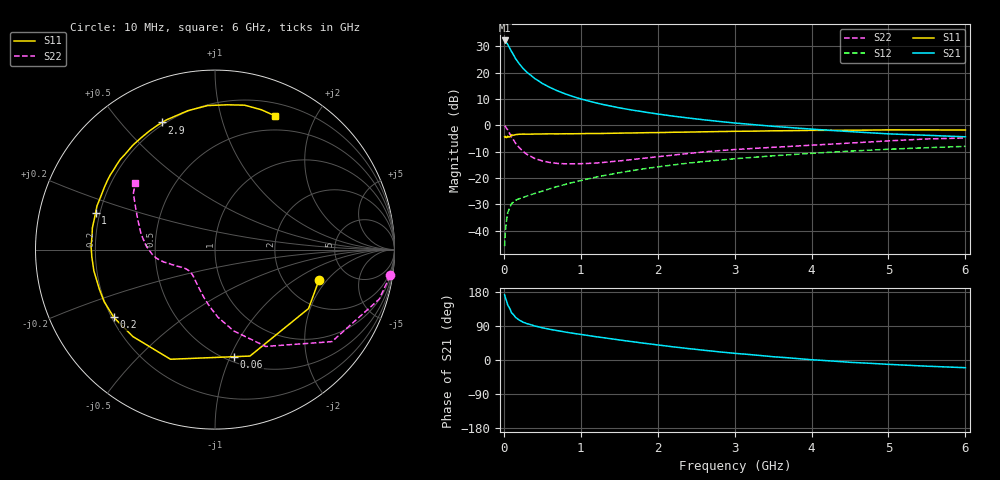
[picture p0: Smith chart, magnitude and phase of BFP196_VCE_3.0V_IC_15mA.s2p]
! Infineon Technologies  Discrete & RF Semiconductors
! BFP196
! VCE =  3.0 V,  IC =  15 mA
! Common Emitter S-Parameters:  Jan 2017
# GHz  S  MA  R  50
!  f  S11  S21  S12  S22
! GHz  MAG  ANG  MAG  ANG  MAG  ANG  MAG  ANG
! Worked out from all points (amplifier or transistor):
!   77 points, 10 MHz to 6 GHz, reference 50 ohm
!   highest |S21| = 32.2 dB at 10 MHz (marker M1)
!   |S21| within 3 dB of that: start of sweep to 77.5 MHz
!   unconditionally stable (mu >= 1): 846.3 MHz to 2.419 GHz
!   at 130 MHz: K = 0.32, MSG = 27.7 dB, |S12| = -28.9 dB
!   at 2.2 GHz: K = 1.02, MAG = 8.4 dB, |S12| = -15.0 dB
!   at 6 GHz: K = 0.94, MSG = 1.8 dB, |S12| = -8.0 dB
!   S11 on the Smith chart (normalised r, x): 10 MHz: 3.08, -1.65; 60 MHz: 0.55, -1.03; 200 MHz: 0.21, -0.29; 1 GHz: 0.18, +0.15; 2.9 GHz: 0.19, +0.65; 6 GHz: 0.33, +1.49
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0.01  0.6036 -16.4  40.89 172.3  0.0051 79.6  0.9864 -8.4
0.02  0.616 -32.2  40.56 164.8  0.0097 78.3  0.9557 -16.8
0.05  0.6243 -71.8  34.61 145.3  0.0218 61.4  0.829 -38.2
0.06  0.6061 -79.9  32.45 142.2  0.0238 57.5  0.7759 -41.9
0.1  0.6594 -112.1  25.17 124.6  0.0327 47.1  0.6089 -62.4
0.15  0.6665 -133.4  18.73 112.9  0.0377 41.4  0.4651 -77.0
0.2  0.6784 -146.2  14.74 105.4  0.0407 40.7  0.3779 -87.4
0.25  0.6824 -154.9  12.05 99.8  0.043 39.6  0.3209 -95.0
0.3  0.681 -161.1  10.18 96.0  0.0456 40.9  0.2819 -101.6
0.4  0.6852 -170.0  7.767 89.8  0.051 43.4  0.2359 -111.6
0.5  0.6875 -176.6  6.249 85.0  0.0564 46.3  0.2118 -119.3
0.6  0.691 178.2  5.243 80.9  0.0629 48.5  0.1976 -125.6
0.7  0.689 174.0  4.502 77.4  0.0694 50.5  0.1895 -130.5
1  0.6963 162.8  3.184 67.5  0.0897 53.6  0.1875 -141.3
1.1  0.701 159.6  2.904 64.5  0.097 53.9  0.1899 -143.7
1.5  0.7122 147.4  2.156 53.0  0.1261 53.3  0.2116 -152.6
2.1  0.7342 130.9  1.569 37.3  0.1701 49.1  0.2632 -162.5
2.9  0.7671 112.6  1.148 19.6  0.2257 41.0  0.3397 -173.5
3.1  0.7734 108.6  1.078 16.0  0.2385 38.8  0.3548 -176.7
4.1  0.8037 91.3  0.831 -0.5  0.3005 27.7  0.4284 166.1
5.1  0.8204 77.0  0.681 -12.4  0.3571 16.1  0.5167 149.8
6  0.8168 65.9  0.607 -20.3  0.4 5.8  0.5769 140.3
